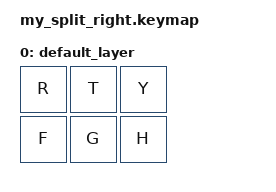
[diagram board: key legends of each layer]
/ {
    keymap {
        compatible = "zmk,keymap";

        default_layer {
            bindings = <
                &kp R  &kp T  &kp Y
                &kp F  &kp G  &kp H
            >;
        };
    };
};
